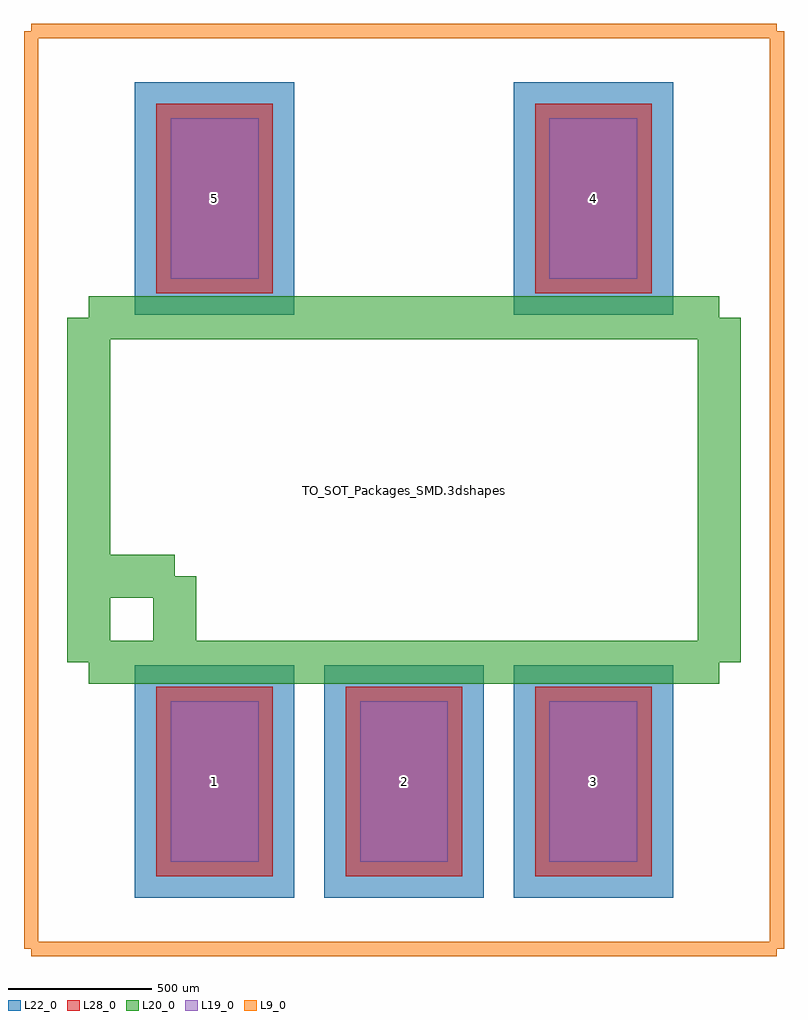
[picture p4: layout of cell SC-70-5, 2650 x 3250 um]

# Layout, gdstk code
import gdstk
lib = gdstk.Library(unit=1e-6, precision=1e-09)
def R(c, l, rs):  # rectangles x0, y0, x1, y1
    for r in rs: c.add(gdstk.rectangle(r[:2], r[2:], *l))
def A(c, l, x, y, w, h, nx, ny, dx, dy):  # array of equal rectangles
    R(c, l, [(x+i*dx, y+j*dy, x+i*dx+w, y+j*dy+h) for i in range(nx) for j in range(ny)])
L9_0 = (9, 0)
L19_0 = (19, 0)
L20_0 = (20, 0)
L22_0 = (22, 0)
L28_0 = (28, 0)

sc_70_5 = lib.new_cell('SC-70-5')
A(sc_70_5, L19_0, -813.6, -1296.2, 306.4, 560.4, 3, 1, 660.4, 0)
R(sc_70_5, L19_0, [(-813.6,735.8,-507.2,1296.2), (507.2,735.8,813.6,1296.2)])
A(sc_70_5, L22_0, -938.6, -1421.2, 556.4, 810.4, 3, 1, 660.4, 0)
R(sc_70_5, L22_0, [(-938.6,610.8,-382.2,1421.2), (382.2,610.8,938.6,1421.2)])
A(sc_70_5, L28_0, -863.6, -1346.2, 406.4, 660.4, 3, 1, 660.4, 0)
R(sc_70_5, L28_0, [(-863.6,685.8,-457.2,1346.2), (457.2,685.8,863.6,1346.2)])
sc_70_5.add(gdstk.FlexPath([(1100,-600),(1100,600)], 149.998, ends="flush", simple_path=True, layer=20, datatype=0))  # L20_0
sc_70_5.add(gdstk.FlexPath([(-1100,-600),(1100,-600)], 149.998, ends="flush", simple_path=True, layer=20, datatype=0))  # L20_0
sc_70_5.add(gdstk.FlexPath([(-1100,600),(-1100,-600)], 149.998, ends="flush", simple_path=True, layer=20, datatype=0))  # L20_0
sc_70_5.add(gdstk.FlexPath([(1100,600),(-1100,600)], 149.998, ends="flush", simple_path=True, layer=20, datatype=0))  # L20_0
sc_70_5.add(gdstk.FlexPath([(-800,-300),(-800,-600)], 149.998, ends="flush", simple_path=True, layer=20, datatype=0))  # L20_0
sc_70_5.add(gdstk.FlexPath([(-1100,-300),(-800,-300)], 149.998, ends="flush", simple_path=True, layer=20, datatype=0))  # L20_0
sc_70_5.add(gdstk.FlexPath([(1300,-1600),(-1300,-1600)], 50, ends="flush", simple_path=True, layer=9, datatype=0))  # L9_0
sc_70_5.add(gdstk.FlexPath([(-1300,-1600),(-1300,1600)], 50, ends="flush", simple_path=True, layer=9, datatype=0))  # L9_0
sc_70_5.add(gdstk.FlexPath([(-1300,1600),(1300,1600)], 50, ends="flush", simple_path=True, layer=9, datatype=0))  # L9_0
sc_70_5.add(gdstk.FlexPath([(1300,1600),(1300,-1600)], 50, ends="flush", simple_path=True, layer=9, datatype=0))  # L9_0
sc_70_5.add(gdstk.Label('TO_SOT_Packages_SMD.3dshapes/SC-70-5.wrl', (0,0), layer=12, texttype=0))
sc_70_5.add(gdstk.Label('5', (-660.4,1016), layer=28, texttype=0))
sc_70_5.add(gdstk.Label('4', (660.4,1016), layer=28, texttype=0))
sc_70_5.add(gdstk.Label('2', (0,-1016), layer=28, texttype=0))
sc_70_5.add(gdstk.Label('3', (660.4,-1016), layer=28, texttype=0))
sc_70_5.add(gdstk.Label('1', (-660.4,-1016), layer=28, texttype=0))
sc_70_5.add(gdstk.Label('type', (0,-2300), layer=9, texttype=0))
sc_70_5.add(gdstk.Label('devicename', (0,2300), layer=9, texttype=0))

lib.write_gds('SC-70-5.gds')
